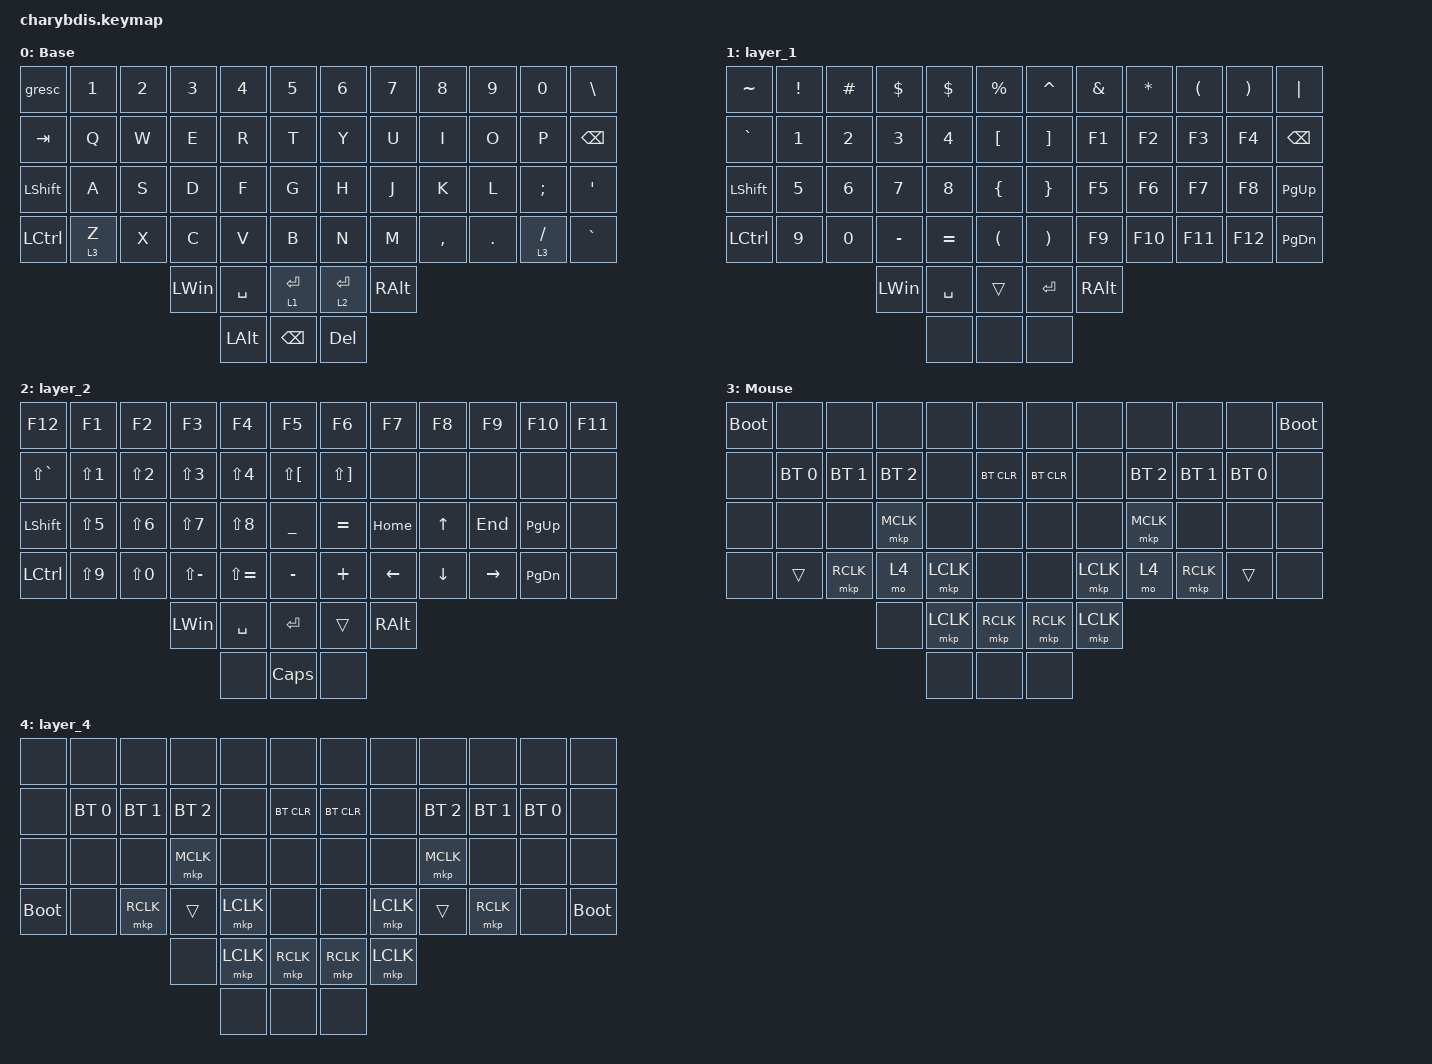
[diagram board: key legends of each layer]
#include <dt-bindings/zmk/mouse.h>
#include <behaviors.dtsi>
#include <dt-bindings/zmk/bt.h>
#include <dt-bindings/zmk/keys.h>
#include <dt-bindings/zmk/pointing.h>

&lt {
    tapping-term-ms = <200>;
    flavor = "balanced";
    quick-tap-ms = <150>;
};

/ {
    combos { compatible = "zmk,combos"; };

    keymap {
        compatible = "zmk,keymap";

        Base {
            bindings = <
&gresc          &kp N1   &kp N2  &kp N3        &kp N4        &kp N5           &kp N6       &kp N7         &kp N8     &kp N9   &kp N0       &kp BACKSLASH
&kp TAB         &kp Q    &kp W   &kp E         &kp R         &kp T            &kp Y        &kp U          &kp I      &kp O    &kp P        &kp BACKSPACE
&kp LEFT_SHIFT  &kp A    &kp S   &kp D         &kp F         &kp G            &kp H        &kp J          &kp K      &kp L    &kp SEMI     &kp APOS
&kp LCTRL       &lt 3 Z  &kp X   &kp C         &kp V         &kp B            &kp N        &kp M          &kp COMMA  &kp DOT  &lt 3 SLASH  &kp GRAVE
                                 &kp LEFT_WIN  &kp SPACE     &lt 1 ENTER      &lt 2 ENTER  &kp RIGHT_ALT
                                               &kp LEFT_ALT  &kp BACKSPACE    &kp DELETE
            >;
        };

        layer_1 {
            bindings = <
&kp TILDE  &kp EXCLAMATION  &kp HASH      &kp DOLLAR    &kp DOLLAR    &kp PERCENT             &kp CARET              &kp AMPERSAND  &kp ASTERISK  &kp LEFT_PARENTHESIS  &kp RIGHT_PARENTHESIS  &kp PIPE
&kp GRAVE  &kp NUMBER_1     &kp NUMBER_2  &kp NUMBER_3  &kp NUMBER_4  &kp LBKT                &kp RBKT               &kp F1         &kp F2        &kp F3                &kp F4                 &kp BACKSPACE
&kp LSHFT  &kp NUMBER_5     &kp NUMBER_6  &kp NUMBER_7  &kp NUMBER_8  &kp LEFT_BRACE          &kp RIGHT_BRACE        &kp F5         &kp F6        &kp F7                &kp F8                 &kp PAGE_UP
&kp LCTRL  &kp NUMBER_9     &kp NUMBER_0  &kp MINUS     &kp EQUAL     &kp LEFT_PARENTHESIS    &kp RIGHT_PARENTHESIS  &kp F9         &kp F10       &kp F11               &kp F12                &kp PAGE_DOWN
                                          &kp LEFT_WIN  &kp SPACE     &trans                  &kp ENTER              &kp RIGHT_ALT
                                                        &none         &none                   &none
            >;
        };

        layer_2 {
            bindings = <
&kp F12        &kp F1      &kp F2      &kp F3         &kp F4         &kp F5          &kp F6        &kp F7         &kp F8    &kp F9     &kp F10        &kp F11
&kp LS(GRAVE)  &kp LS(N1)  &kp LS(N2)  &kp LS(N3)     &kp LS(N4)     &kp LS(LBKT)    &kp LS(RBKT)  &none          &none     &none      &none          &none
&kp LSHFT      &kp LS(N5)  &kp LS(N6)  &kp LS(N7)     &kp LS(N8)     &kp UNDER       &kp EQUAL     &kp HOME       &kp UP    &kp END    &kp PAGE_UP    &none
&kp LCTRL      &kp LS(N9)  &kp LS(N0)  &kp LS(MINUS)  &kp LS(EQUAL)  &kp MINUS       &kp PLUS      &kp LEFT       &kp DOWN  &kp RIGHT  &kp PAGE_DOWN  &none
                                       &kp LEFT_WIN   &kp SPACE      &kp ENTER       &trans        &kp RIGHT_ALT
                                                      &none          &kp CAPSLOCK    &none
            >;
        };

        Mouse {
            bindings = <
&bootloader  &none         &none         &none         &none      &none         &none       &none      &none         &none         &none         &bootloader
&none        &bt BT_SEL 0  &bt BT_SEL 1  &bt BT_SEL 2  &none      &bt BT_CLR    &bt BT_CLR  &none      &bt BT_SEL 2  &bt BT_SEL 1  &bt BT_SEL 0  &none
&none        &none         &none         &mkp MCLK     &none      &none         &none       &none      &mkp MCLK     &none         &none         &none
&none        &trans        &mkp RCLK     &mo 4         &mkp LCLK  &none         &none       &mkp LCLK  &mo 4         &mkp RCLK     &trans        &none
                                         &none         &mkp LCLK  &mkp RCLK     &mkp RCLK   &mkp LCLK
                                                       &none      &none         &none
            >;
        };

        layer_4 {
            bindings = <
&none        &none         &none         &none         &none      &none         &none       &none      &none         &none         &none         &none
&none        &bt BT_SEL 0  &bt BT_SEL 1  &bt BT_SEL 2  &none      &bt BT_CLR    &bt BT_CLR  &none      &bt BT_SEL 2  &bt BT_SEL 1  &bt BT_SEL 0  &none
&none        &none         &none         &mkp MCLK     &none      &none         &none       &none      &mkp MCLK     &none         &none         &none
&bootloader  &none         &mkp RCLK     &trans        &mkp LCLK  &none         &none       &mkp LCLK  &trans        &mkp RCLK     &none         &bootloader
                                         &none         &mkp LCLK  &mkp RCLK     &mkp RCLK   &mkp LCLK
                                                       &none      &none         &none
            >;
        };
    };
};
